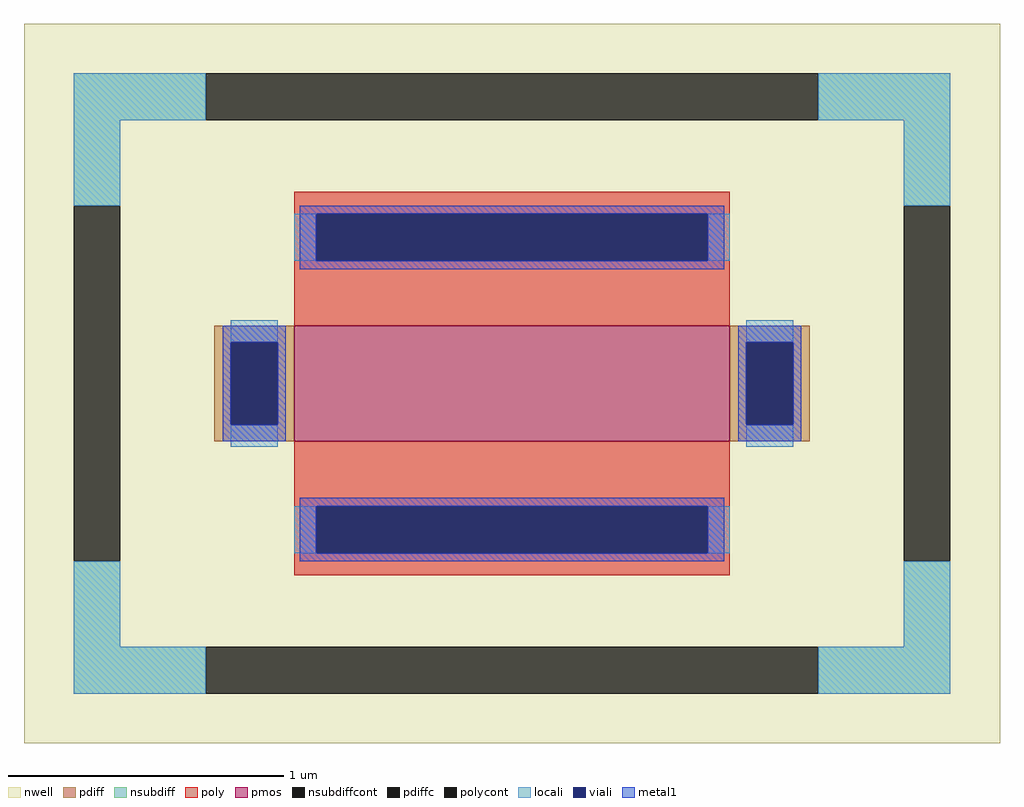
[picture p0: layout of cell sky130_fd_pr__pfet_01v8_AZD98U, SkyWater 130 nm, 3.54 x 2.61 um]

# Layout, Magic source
magic
tech sky130A
magscale 1 2
<< nwell >>
rect -354 -261 354 261
<< pmos >>
rect -158 -42 158 42
<< pdiff >>
rect -216 30 -158 42
rect -216 -30 -204 30
rect -170 -30 -158 30
rect -216 -42 -158 -30
rect 158 30 216 42
rect 158 -30 170 30
rect 204 -30 216 30
rect 158 -42 216 -30
<< pdiffc >>
rect -204 -30 -170 30
rect 170 -30 204 30
<< nsubdiff >>
rect -318 191 -222 225
rect 222 191 318 225
rect -318 129 -284 191
rect 284 129 318 191
rect -318 -191 -284 -129
rect 284 -191 318 -129
rect -318 -225 -222 -191
rect 222 -225 318 -191
<< nsubdiffcont >>
rect -222 191 222 225
rect -318 -129 -284 129
rect 284 -129 318 129
rect -222 -225 222 -191
<< poly >>
rect -158 123 158 139
rect -158 89 -142 123
rect 142 89 158 123
rect -158 42 158 89
rect -158 -89 158 -42
rect -158 -123 -142 -89
rect 142 -123 158 -89
rect -158 -139 158 -123
<< polycont >>
rect -142 89 142 123
rect -142 -123 142 -89
<< locali >>
rect -318 191 -222 225
rect 222 191 318 225
rect -318 129 -284 191
rect 284 129 318 191
rect -158 89 -142 123
rect 142 89 158 123
rect -204 30 -170 46
rect -204 -46 -170 -30
rect 170 30 204 46
rect 170 -46 204 -30
rect -158 -123 -142 -89
rect 142 -123 158 -89
rect -318 -191 -284 -129
rect 284 -191 318 -129
rect -318 -225 -222 -191
rect 222 -225 318 -191
<< viali >>
rect -142 89 142 123
rect -204 -30 -170 30
rect 170 -30 204 30
rect -142 -123 142 -89
<< metal1 >>
rect -154 123 154 129
rect -154 89 -142 123
rect 142 89 154 123
rect -154 83 154 89
rect -210 30 -164 42
rect -210 -30 -204 30
rect -170 -30 -164 30
rect -210 -42 -164 -30
rect 164 30 210 42
rect 164 -30 170 30
rect 204 -30 210 30
rect 164 -42 210 -30
rect -154 -89 154 -83
rect -154 -123 -142 -89
rect 142 -123 154 -89
rect -154 -129 154 -123
<< properties >>
string FIXED_BBOX -301 -208 301 208
string gencell sky130_fd_pr__pfet_01v8
string library sky130
string parameters w 0.42 l 1.58 m 1 nf 1 diffcov 100 polycov 100 guard 1 glc 1 grc 1 gtc 1 gbc 1 tbcov 100 rlcov 100 topc 1 botc 1 poverlap 0 doverlap 1 lmin 0.15 wmin 0.42 compatible {sky130_fd_pr__pfet_01v8  sky130_fd_pr__pfet_01v8_lvt sky130_fd_pr__pfet_01v8_hvt  sky130_fd_pr__pfet_g5v0d10v5} full_metal 1 viasrc 100 viadrn 100 viagate 100 viagb 0 viagr 0 viagl 0 viagt 0
<< end >>
